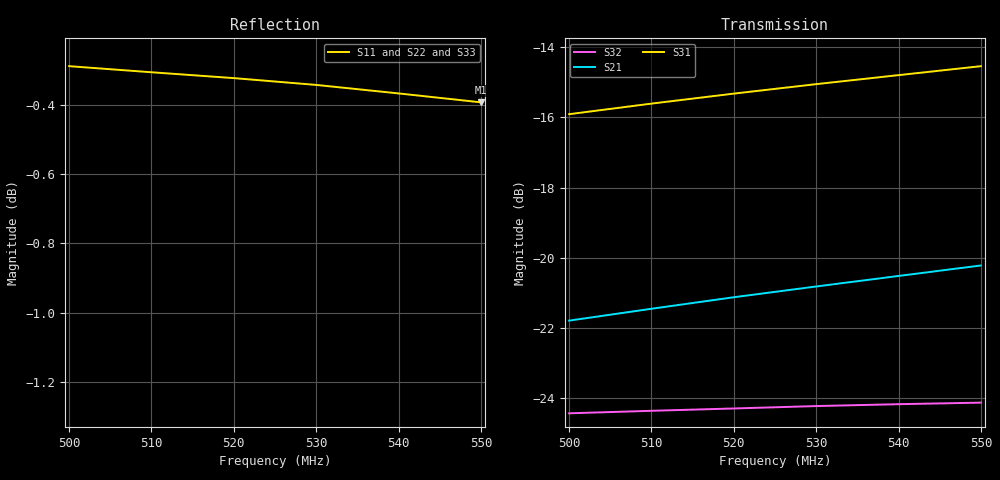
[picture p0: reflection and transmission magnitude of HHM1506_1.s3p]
# MHz S MA R 50
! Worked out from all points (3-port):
!   6 points, 500 MHz to 550 MHz, reference 50 ohm
!   strongest paths, dB at 500 MHz, 510 MHz, 530 MHz, 540 MHz, 550 MHz:
!     S31: -15.9, -15.6, -15.1, -14.8, -14.5
!     S21: -21.8, -21.5, -20.8, -20.5, -20.2
!     S32: -24.4, -24.4, -24.2, -24.2, -24.1
!   lowest |S11| = -0.4 dB at 550 MHz (marker M1), VSWR 44.17, Z = 1.59 - j32 ohm
!   |S11| at or under -10 dB: nowhere
500  0.9672 -105.7  0.08218 -73.1  0.1617 101.0
     0.08137 -73.5  0.9684 134.2  0.05993 48.3
     0.1602 100.8  0.06004 48.5  0.9585 130.5
510  0.9653 -107.5  0.08526 -74.5  0.1669 99.7
     0.0846 -74.9  0.9677 133.3  0.06042 47.9
     0.1658 99.4  0.06054 48.1  0.9572 129.5
520  0.9634 -109.4  0.0884 -75.8  0.1724 98.4
     0.08786 -76.4  0.9671 132.4  0.06091 47.5
     0.1713 97.9  0.061 47.7  0.956 128.5
530  0.9613 -111.2  0.09179 -77.1  0.1782 97.1
     0.09101 -77.8  0.967 131.4  0.06135 47.0
     0.1767 96.5  0.06148 47.3  0.9549 127.5
540  0.9585 -113.0  0.09529 -78.5  0.1842 95.6
     0.09421 -79.2  0.9664 130.5  0.06173 46.6
     0.182 95.1  0.06186 46.8  0.9536 126.4
550  0.9557 -114.8  0.09879 -79.9  0.1901 94.2
     0.09751 -80.5  0.9653 129.6  0.06207 46.3
     0.1875 93.8  0.06218 46.5  0.9523 125.4
